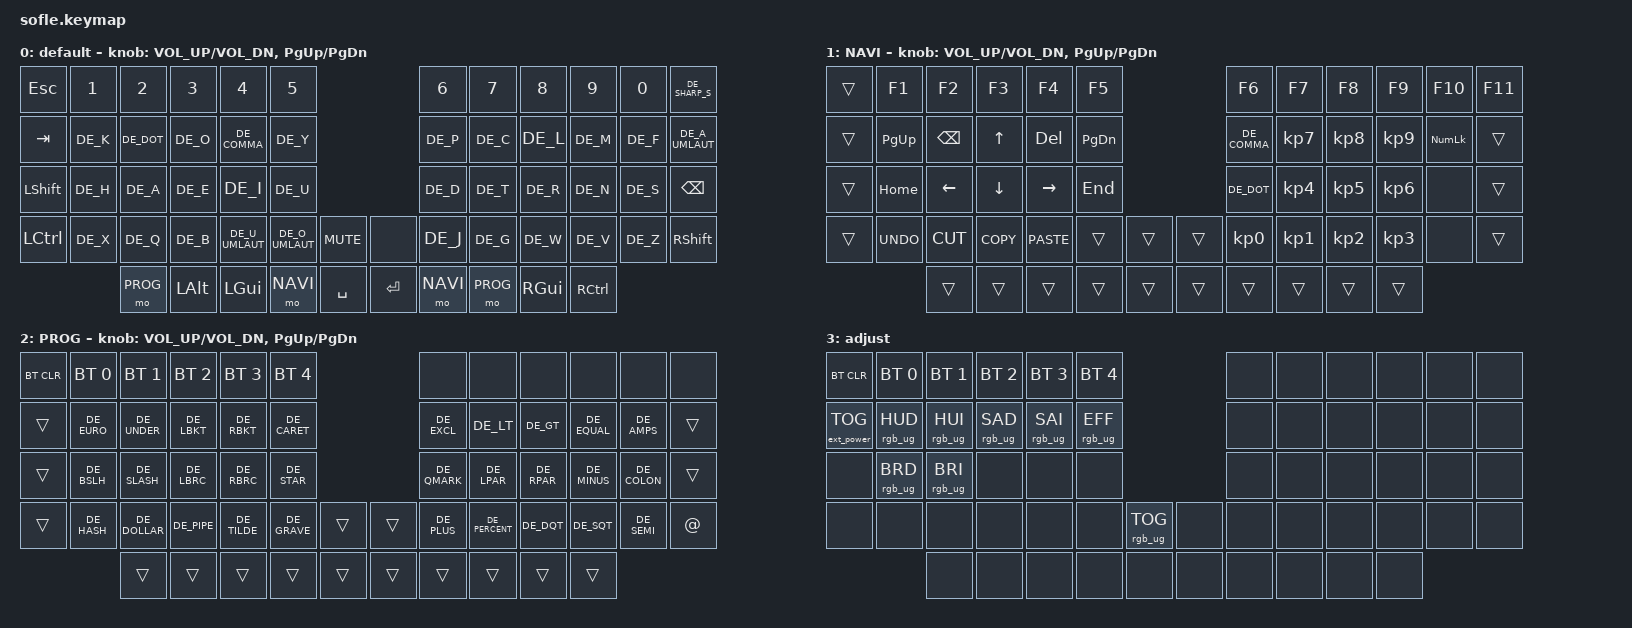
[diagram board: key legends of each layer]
/*
 * Copyright (c) 2020 The ZMK Contributors
 *
 * SPDX-License-Identifier: MIT
 */

#include <behaviors.dtsi>
#include <dt-bindings/zmk/keys.h>
#include <dt-bindings/zmk/bt.h>
#include <dt-bindings/zmk/rgb.h>
#include <dt-bindings/zmk/ext_power.h>
#include <locale/keys_de.h>

#define BASE 0
#define NAVI 1
#define PROG 2
// #define ADJUST 3

/ {

   // Activate ADJUST layer by pressing raise and lower
//    conditional_layers {
//        compatible = "zmk,conditional-layers";
//        adjust_layer {
//            if-layers = <LOWER RAISE>;
//            then-layer = <ADJUST>;
//        };
//    };

    keymap {
        compatible = "zmk,keymap";

        default_layer {
            display-name = "default";
// ------------------------------------------------------------------------------------------------------------
// |   `   |  1  |  2  |  3   |  4   |  5   |                   |  6   |  7    |  8    |  9   |   0   |       |
// |  ESC  |  Q  |  W  |  E   |  R   |  T   |                   |  Y   |  U    |  I    |  O   |   P   | BKSPC |
// |  TAB  |  A  |  S  |  D   |  F   |  G   |                   |  H   |  J    |  K    |  L   |   ;   |   '   |
// | SHIFT |  Z  |  X  |  C   |  V   |  B   |  MUTE  |  |       |  N   |  M    |  ,    |  .   |   /   | SHIFT |
//               | GUI | ALT  | CTRL | LOWER|  ENTER |  | SPACE | RAISE| CTRL  | ALT   | GUI  |
            bindings = <
&kp ESC &kp N1 &kp N2   &kp N3   &kp N4    &kp N5                           
		&kp N6 &kp N7    &kp N8    &kp N9   &kp N0   &kp DE_SHARP_S
&kp TAB		&kp DE_K	&kp DE_DOT  &kp DE_O  &kp DE_COMMA		&kp DE_Y
		&kp DE_P  &kp DE_C	&kp DE_L		&kp DE_M    &kp DE_F    &kp DE_A_UMLAUT
&kp LEFT_SHIFT   &kp DE_H  &kp DE_A    &kp DE_E   &kp DE_I     &kp DE_U                            
		&kp DE_D  &kp DE_T	&kp DE_R     &kp DE_N    &kp DE_S &kp BSPC
&kp LCTL	&kp DE_X  &kp DE_Q    &kp DE_B    &kp DE_U_UMLAUT		&kp DE_O_UMLAUT		&kp C_MUTE 
		&none		&kp DE_J  &kp DE_G		&kp DE_W	&kp DE_V		&kp DE_Z	&kp RSHFT
&mo PROG  &kp LALT	&kp LGUI &mo NAVI  &kp SPACE    
		&kp RETURN		&mo NAVI  &mo PROG	&kp RGUI  &kp RCTL
            >;

            sensor-bindings = <&inc_dec_kp C_VOL_UP C_VOL_DN &inc_dec_kp PG_UP PG_DN>;
        };

        raise_layer {
            display-name = "NAVI";
// ------------------------------------------------------------------------------------------------------------
// | BTCLR | BT1  | BT2  |  BT3  |  BT4  |  BT5 |                |      |      |       |      |       |       |
// |       | INS  | PSCR | GUI   |       |      |                | PGUP |      |   ^   |      |       |       |
// |       | ALT  | CTRL | SHIFT |       | CAPS |                | PGDN |   <- |   v   |  ->  |  DEL  | BKSPC |
// |       | UNDO | CUT  | COPY  | PASTE |      |      |  |      |      |      |       |      |       |       |
//                |      |       |       |      |      |  |      |      |      |       |      |
            bindings = <
&trans		 &kp F1 &kp F2 &kp F3 &kp F4 &kp F5 &kp F6 &kp F7 &kp F8 &kp F9 &kp F10 &kp F11
&trans	&kp PAGE_UP		&kp BSPC    &kp UP  &kp DEL       &kp PAGE_DOWN                        
		&kp DE_COMMA &kp KP_N7    &kp KP_N8   &kp KP_N9    &kp KP_NUM  &trans
&trans     &kp HOME     &kp LEFT    &kp DOWN    &kp RIGHT       &kp END                      
		&kp DE_DOT &kp KP_N4  &kp KP_N5 &kp KP_N6 &none &trans
&trans     &kp K_UNDO   &kp K_CUT    &kp K_COPY   &kp K_PASTE  &trans  &trans       
		&trans  &kp KP_N0  &kp KP_N1    &kp KP_N2    &kp KP_N3   &none  &trans
                        &trans       &trans       &trans       &trans        &trans  &trans  &trans    &trans    &trans   &trans
            >;

            sensor-bindings = <&inc_dec_kp C_VOL_UP C_VOL_DN &inc_dec_kp PG_UP PG_DN>;
        };

        lower_layer {
            display-name = "PROG";
// TODO: Some binds are waiting for shifted keycode support.
// ------------------------------------------------------------------------------------------------------------
// |       |  F1 |  F2 |  F3  |  F4  |  F5  |                   |  F6  |  F7   |  F8   |  F9  |  F10  |  F11  |
// |   `   |  1  |  2  |  3   |  4   |  5   |                   |  6   |  7    |  8    |  9   |   0   |  F12  |
// |       |  !  |  @  |  #   |  $   |  %   |                   |  ^   |  &    |  *    |  (   |   )   |   |   |
// |       |  =  |  -  |  +   |  {   |  }   |        |  |       |  [   |  ]    |  ;    |  :   |   \   |       |
//               |     |      |      |      |        |  |       |      |       |       |      |
            bindings = <
&bt BT_CLR        &bt BT_SEL 0    &bt BT_SEL 1    &bt BT_SEL 2    &bt BT_SEL 3    &bt BT_SEL 4
		&none &none &none &none &none &none
&trans &kp DE_EURO &kp DE_UNDER &kp DE_LBKT &kp DE_RBKT &kp DE_CARET
		&kp DE_EXCL &kp DE_LT &kp DE_GT &kp DE_EQUAL &kp DE_AMPS &trans
&trans &kp DE_BSLH &kp DE_SLASH &kp DE_LBRC &kp DE_RBRC &kp DE_STAR
		&kp DE_QMARK &kp DE_LPAR &kp DE_RPAR &kp DE_MINUS &kp DE_COLON &trans
&trans &kp DE_HASH &kp DE_DOLLAR &kp DE_PIPE  &kp DE_TILDE &kp DE_GRAVE &trans
		&trans &kp DE_PLUS &kp DE_PERCENT &kp  DE_DQT &kp  DE_SQT &kp DE_SEMI &kp AT
                    &trans    &trans      &trans    &trans     &trans &trans  &trans    &trans   &trans    &trans
            >;

            sensor-bindings = <&inc_dec_kp C_VOL_UP C_VOL_DN &inc_dec_kp PG_UP PG_DN>;
        };


        adjust_layer {
// ----------------------------------------------------------------------------------------------------------------------------
// | BTCLR  |  BT1    |  BT2    |   BT3   |   BT4   |   BT5   |                  |      |      |       |      |       |       |
// | EXTPWR | RGB_HUD | RGB_HUI | RGB_SAD | RGB_SAI | RGB_EFF |                  |      |      |       |      |       |       |
// |        | RGB_BRD | RGB_BRI |         |         |         |                  |      |      |       |      |       |       |
// |        |         |         |         |         |         | RGB_TOG | |      |      |      |       |      |       |       |
//                    |         |         |         |         |         | |      |      |      |       |      |
            display-name = "adjust";
            bindings = <
&bt BT_CLR        &bt BT_SEL 0    &bt BT_SEL 1    &bt BT_SEL 2    &bt BT_SEL 3    &bt BT_SEL 4                            &none &none &none &none &none &none
&ext_power EP_TOG &rgb_ug RGB_HUD &rgb_ug RGB_HUI &rgb_ug RGB_SAD &rgb_ug RGB_SAI &rgb_ug RGB_EFF                         &none &none &none &none &none &none
&none             &rgb_ug RGB_BRD &rgb_ug RGB_BRI &none           &none           &none                                   &none &none &none &none &none &none
&none             &none           &none           &none           &none           &none            &rgb_ug RGB_TOG &none  &none &none &none &none &none &none
                                  &none           &none           &none           &none            &none           &none  &none &none &none &none
            >;
        };

    };
};
